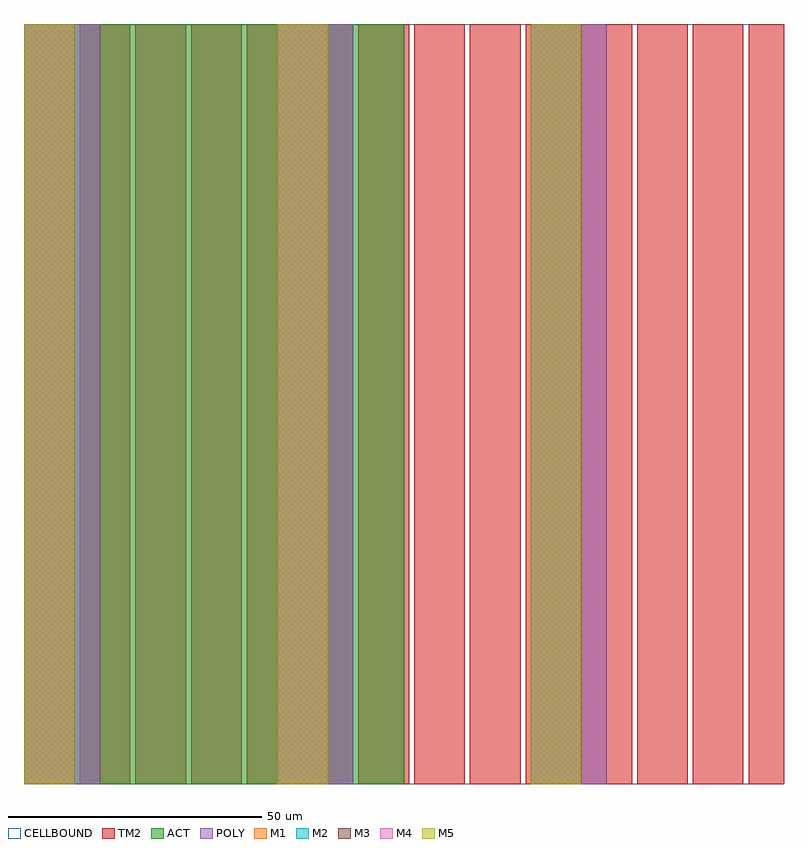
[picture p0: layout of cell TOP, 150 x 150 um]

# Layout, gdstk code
import gdstk
lib = gdstk.Library(unit=1e-6, precision=1e-09)
def R(c, l, rs):  # rectangles x0, y0, x1, y1
    for r in rs: c.add(gdstk.rectangle(r[:2], r[2:], *l))
def A(c, l, x, y, w, h, nx, ny, dx, dy):  # array of equal rectangles
    R(c, l, [(x+i*dx, y+j*dy, x+i*dx+w, y+j*dy+h) for i in range(nx) for j in range(ny)])
ACT = (2, 1)
POLY = (41, 1)
M1 = (81, 1)
M2 = (82, 1)
M3 = (83, 1)
M4 = (84, 1)
M5 = (85, 1)
TM2 = (103, 1)
CELLBOUND = (351, 12)

top = lib.new_cell('TOP')
R(top, ACT, [(0,0,75,150)])
A(top, POLY, 0, 0, 15, 150, 3, 1, 50, 0)
A(top, M1, 0, 0, 10, 150, 3, 1, 50, 0)
A(top, M2, 0, 0, 10, 150, 3, 1, 50, 0)
A(top, M3, 0, 0, 10, 150, 3, 1, 50, 0)
A(top, M4, 0, 0, 10, 150, 3, 1, 50, 0)
A(top, M5, 0, 0, 10, 150, 3, 1, 50, 0)
A(top, TM2, 0, 0, 10, 150, 13, 1, 11, 0)
R(top, TM2, [(143,0,150,150)])
R(top, CELLBOUND, [(0,0,150,150)])

lib.write_gds('TOP.gds')
